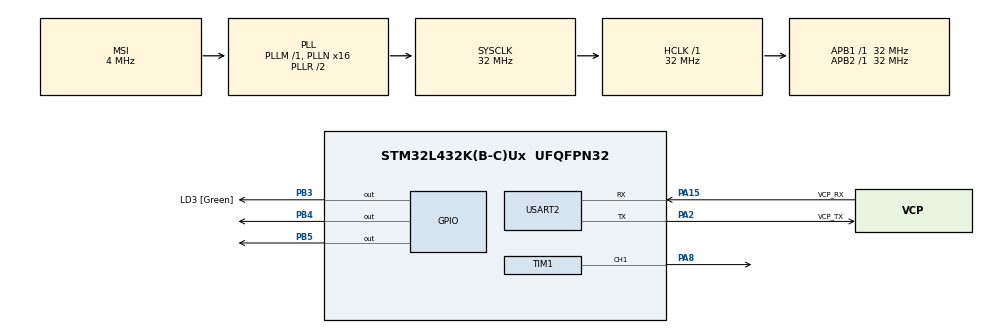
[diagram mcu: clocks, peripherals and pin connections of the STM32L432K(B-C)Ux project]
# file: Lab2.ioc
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Mcu.Family=STM32L4
Mcu.Name=STM32L432K(B-C)Ux
Mcu.Package=UFQFPN32
NVIC.PriorityGroup=NVIC_PRIORITYGROUP_4
PA13\ (JTMS-SWDIO).GPIO_Label=SWDIO
PA13\ (JTMS-SWDIO).Mode=Serial_Wire
PA13\ (JTMS-SWDIO).Signal=SYS_JTMS-SWDIO
PA14\ (JTCK-SWCLK).GPIO_Label=SWCLK
PA14\ (JTCK-SWCLK).Mode=Serial_Wire
PA14\ (JTCK-SWCLK).Signal=SYS_JTCK-SWCLK
PA15\ (JTDI).GPIO_Label=VCP_RX
PA15\ (JTDI).Mode=Asynchronous
PA15\ (JTDI).Signal=USART2_RX
PA2.GPIO_Label=VCP_TX
PA2.Mode=Asynchronous
PA2.Signal=USART2_TX
PA8.Signal=S_TIM1_CH1
PB3\ (JTDO-TRACESWO).GPIO_Label=LD3 [Green]
PB3\ (JTDO-TRACESWO).GPIO_PuPd=GPIO_NOPULL
PB3\ (JTDO-TRACESWO).Signal=GPIO_Output
PB4\ (NJTRST).GPIO_PuPd=GPIO_PULLDOWN
PB4\ (NJTRST).Signal=GPIO_Output
PB5.GPIO_PuPd=GPIO_PULLDOWN
PB5.Signal=GPIO_Output
PC14-OSC32_IN\ (PC14).Mode=LSE-External-Oscillator
PC14-OSC32_IN\ (PC14).Signal=RCC_OSC32_IN
PC15-OSC32_OUT\ (PC15).Mode=LSE-External-Oscillator
PC15-OSC32_OUT\ (PC15).Signal=RCC_OSC32_OUT
ProjectManager.HeapSize=0x200
ProjectManager.StackSize=0x400
ProjectManager.TargetToolchain=STM32CubeIDE
RCC.AHBFreq_Value=32000000
RCC.APB1Freq_Value=32000000
RCC.APB1TimFreq_Value=32000000
RCC.APB2Freq_Value=32000000
RCC.APB2TimFreq_Value=32000000
RCC.CortexFreq_Value=32000000
RCC.HCLKFreq_Value=32000000
RCC.HSE_VALUE=8000000
RCC.HSI16_VALUE=16000000
RCC.HSI48_VALUE=48000000
RCC.HSI_VALUE=16000000
RCC.MSI_VALUE=4000000
RCC.PLLMUL=RCC_PLLMUL_4
RCC.PLLN=16
RCC.SYSCLKFreq_VALUE=32000000
RCC.SYSCLKSource=RCC_SYSCLKSOURCE_PLLCLK
RCC.VCOOutputFreq_Value=64000000
SH.S_TIM1_CH1.0=TIM1_CH1,PWM Generation1 CH1
TIM1.Channel-PWM\ Generation1\ CH1=TIM_CHANNEL_1
TIM1.Period=624
TIM1.Prescaler=127
TIM1.Pulse-PWM\ Generation1\ CH1=312
USART2.VirtualMode-Asynchronous=VM_ASYNC
VP_TIM1_VS_ClockSourceINT.Mode=Internal
board=NUCLEO-L432KC

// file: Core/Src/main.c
/* USER CODE BEGIN Header */
/**
 ******************************************************************************
 * @file           : main.c
 * @brief          : Main program body
 ******************************************************************************
 * @attention
 *
 * <h2><center>&copy; Copyright (c) 2021 STMicroelectronics.
 * All rights reserved.</center></h2>
 *
 * This software component is licensed by ST under BSD 3-Clause license,
 * the "License"; You may not use this file except in compliance with the
 * License. You may obtain a copy of the License at:
 *                        opensource.org/licenses/BSD-3-Clause
 *
 ******************************************************************************
 */
/* USER CODE END Header */

/* USER CODE END Header */
/*
 * FILE          : main.c
 * PROJECT       : 4DS4 - Lab Assignment #2
 * PROGRAMMER    : Uday Sharma, Vivek Patel
 * FIRST VERSION : 2021-02-25
 * DESCRIPTION   :
 *   The functions in this file are used to output in serial and in buzzer and LED whether or
 *  the user has entered in a correct password */
/*
#include "main.h"

/* USER CODE BEGIN Includes */
#include "stdio.h"
#include "stdbool.h"
/* USER CODE END Includes */

TIM_HandleTypeDef htim1;
UART_HandleTypeDef huart2;

/* USER CODE BEGIN PV */
int passcodes[10] = {1210, 1282, 2283, 5432, 2345, 9999, 7777, 6789, 9876, 2468};
/* USER CODE END PV */

void SystemClock_Config(void);
static void MX_GPIO_Init(void);
static void MX_USART2_UART_Init(void);
static void MX_TIM1_Init(void);
/* USER CODE BEGIN PFP */
void accessGranted(void);
void accessDenied(void);
bool passcodeIsIn(int enteredValue);
/* USER CODE END PFP */

int main(void) {

	/* MCU Configuration--------------------------------------------------------*/

	/* Reset of all peripherals, Initializes the Flash interface and the Systick. */
	HAL_Init();

	/* Configure the system clock */
	SystemClock_Config();

	/* Initialize all configured peripherals */
	MX_GPIO_Init();
	MX_USART2_UART_Init();
	MX_TIM1_Init();
	/* USER CODE BEGIN 2 */
	int passcode;
	TIM1->ARR = 0;
	HAL_TIM_PWM_Start_IT(&htim1, TIM_CHANNEL_1);
	/* USER CODE END 2 */

	/* Infinite loop */
	/* USER CODE BEGIN WHILE */
	while (1) {
		printf("Please enter passcode this is a very SECURE site:");
		HAL_Delay(1000);
		scanf("%d", &passcode);
		HAL_Delay(1000);
		if (passcodeIsIn(passcode)) {
			accessGranted();
		} else {
			accessDenied();
		}
		HAL_Delay(3000);
		TIM1->ARR = 0;
		/* USER CODE END WHILE */

	}
}

void SystemClock_Config(void) {
	RCC_OscInitTypeDef RCC_OscInitStruct = { 0 };
	RCC_ClkInitTypeDef RCC_ClkInitStruct = { 0 };
	RCC_PeriphCLKInitTypeDef PeriphClkInit = { 0 };

	/** Configure LSE Drive Capability
	 */
	HAL_PWR_EnableBkUpAccess();
	__HAL_RCC_LSEDRIVE_CONFIG(RCC_LSEDRIVE_LOW);
	/** Initializes the RCC Oscillators according to the specified parameters
	 * in the RCC_OscInitTypeDef structure.
	 */
	RCC_OscInitStruct.OscillatorType = RCC_OSCILLATORTYPE_LSE
			| RCC_OSCILLATORTYPE_MSI;
	RCC_OscInitStruct.LSEState = RCC_LSE_ON;
	RCC_OscInitStruct.MSIState = RCC_MSI_ON;
	RCC_OscInitStruct.MSICalibrationValue = 0;
	RCC_OscInitStruct.MSIClockRange = RCC_MSIRANGE_6;
	RCC_OscInitStruct.PLL.PLLState = RCC_PLL_ON;
	RCC_OscInitStruct.PLL.PLLSource = RCC_PLLSOURCE_MSI;
	RCC_OscInitStruct.PLL.PLLM = 1;
	RCC_OscInitStruct.PLL.PLLN = 16;
	RCC_OscInitStruct.PLL.PLLP = RCC_PLLP_DIV7;
	RCC_OscInitStruct.PLL.PLLQ = RCC_PLLQ_DIV2;
	RCC_OscInitStruct.PLL.PLLR = RCC_PLLR_DIV2;
	if (HAL_RCC_OscConfig(&RCC_OscInitStruct) != HAL_OK) {
		Error_Handler();
	}
	/** Initializes the CPU, AHB and APB buses clocks
	 */
	RCC_ClkInitStruct.ClockType = RCC_CLOCKTYPE_HCLK | RCC_CLOCKTYPE_SYSCLK
			| RCC_CLOCKTYPE_PCLK1 | RCC_CLOCKTYPE_PCLK2;
	RCC_ClkInitStruct.SYSCLKSource = RCC_SYSCLKSOURCE_PLLCLK;
	RCC_ClkInitStruct.AHBCLKDivider = RCC_SYSCLK_DIV1;
	RCC_ClkInitStruct.APB1CLKDivider = RCC_HCLK_DIV1;
	RCC_ClkInitStruct.APB2CLKDivider = RCC_HCLK_DIV1;

	if (HAL_RCC_ClockConfig(&RCC_ClkInitStruct, FLASH_LATENCY_1) != HAL_OK) {
		Error_Handler();
	}
	PeriphClkInit.PeriphClockSelection = RCC_PERIPHCLK_USART2;
	PeriphClkInit.Usart2ClockSelection = RCC_USART2CLKSOURCE_PCLK1;
	if (HAL_RCCEx_PeriphCLKConfig(&PeriphClkInit) != HAL_OK) {
		Error_Handler();
	}
	/** Configure the main internal regulator output voltage
	 */
	if (HAL_PWREx_ControlVoltageScaling(PWR_REGULATOR_VOLTAGE_SCALE1)
			!= HAL_OK) {
		Error_Handler();
	}
	/** Enable MSI Auto calibration
	 */
	HAL_RCCEx_EnableMSIPLLMode();
}

static void MX_TIM1_Init(void) {

	TIM_ClockConfigTypeDef sClockSourceConfig = { 0 };
	TIM_MasterConfigTypeDef sMasterConfig = { 0 };
	TIM_OC_InitTypeDef sConfigOC = { 0 };
	TIM_BreakDeadTimeConfigTypeDef sBreakDeadTimeConfig = { 0 };

	htim1.Instance = TIM1;
	htim1.Init.Prescaler = 127;
	htim1.Init.CounterMode = TIM_COUNTERMODE_UP;
	htim1.Init.Period = 624;
	htim1.Init.ClockDivision = TIM_CLOCKDIVISION_DIV1;
	htim1.Init.RepetitionCounter = 0;
	htim1.Init.AutoReloadPreload = TIM_AUTORELOAD_PRELOAD_DISABLE;
	if (HAL_TIM_Base_Init(&htim1) != HAL_OK) {
		Error_Handler();
	}
	sClockSourceConfig.ClockSource = TIM_CLOCKSOURCE_INTERNAL;
	if (HAL_TIM_ConfigClockSource(&htim1, &sClockSourceConfig) != HAL_OK) {
		Error_Handler();
	}
	if (HAL_TIM_PWM_Init(&htim1) != HAL_OK) {
		Error_Handler();
	}
	sMasterConfig.MasterOutputTrigger = TIM_TRGO_RESET;
	sMasterConfig.MasterOutputTrigger2 = TIM_TRGO2_RESET;
	sMasterConfig.MasterSlaveMode = TIM_MASTERSLAVEMODE_DISABLE;
	if (HAL_TIMEx_MasterConfigSynchronization(&htim1, &sMasterConfig)
			!= HAL_OK) {
		Error_Handler();
	}
	sConfigOC.OCMode = TIM_OCMODE_PWM1;
	sConfigOC.Pulse = 312;
	sConfigOC.OCPolarity = TIM_OCPOLARITY_HIGH;
	sConfigOC.OCNPolarity = TIM_OCNPOLARITY_HIGH;
	sConfigOC.OCFastMode = TIM_OCFAST_DISABLE;
	sConfigOC.OCIdleState = TIM_OCIDLESTATE_RESET;
	sConfigOC.OCNIdleState = TIM_OCNIDLESTATE_RESET;
	if (HAL_TIM_PWM_ConfigChannel(&htim1, &sConfigOC, TIM_CHANNEL_1)
			!= HAL_OK) {
		Error_Handler();
	}
	sBreakDeadTimeConfig.OffStateRunMode = TIM_OSSR_DISABLE;
	sBreakDeadTimeConfig.OffStateIDLEMode = TIM_OSSI_DISABLE;
	sBreakDeadTimeConfig.LockLevel = TIM_LOCKLEVEL_OFF;
	sBreakDeadTimeConfig.DeadTime = 0;
	sBreakDeadTimeConfig.BreakState = TIM_BREAK_DISABLE;
	sBreakDeadTimeConfig.BreakPolarity = TIM_BREAKPOLARITY_HIGH;
	sBreakDeadTimeConfig.BreakFilter = 0;
	sBreakDeadTimeConfig.Break2State = TIM_BREAK2_DISABLE;
	sBreakDeadTimeConfig.Break2Polarity = TIM_BREAK2POLARITY_HIGH;
	sBreakDeadTimeConfig.Break2Filter = 0;
	sBreakDeadTimeConfig.AutomaticOutput = TIM_AUTOMATICOUTPUT_DISABLE;
	if (HAL_TIMEx_ConfigBreakDeadTime(&htim1, &sBreakDeadTimeConfig)
			!= HAL_OK) {
		Error_Handler();
	}
	HAL_TIM_MspPostInit(&htim1);

}

static void MX_USART2_UART_Init(void) {

	huart2.Instance = USART2;
	huart2.Init.BaudRate = 115200;
	huart2.Init.WordLength = UART_WORDLENGTH_8B;
	huart2.Init.StopBits = UART_STOPBITS_1;
	huart2.Init.Parity = UART_PARITY_NONE;
	huart2.Init.Mode = UART_MODE_TX_RX;
	huart2.Init.HwFlowCtl = UART_HWCONTROL_NONE;
	huart2.Init.OverSampling = UART_OVERSAMPLING_16;
	huart2.Init.OneBitSampling = UART_ONE_BIT_SAMPLE_DISABLE;
	huart2.AdvancedInit.AdvFeatureInit = UART_ADVFEATURE_NO_INIT;
	if (HAL_UART_Init(&huart2) != HAL_OK) {
		Error_Handler();
	}

}

static void MX_GPIO_Init(void) {
	GPIO_InitTypeDef GPIO_InitStruct = { 0 };

	/* GPIO Ports Clock Enable */
	__HAL_RCC_GPIOC_CLK_ENABLE();
	__HAL_RCC_GPIOA_CLK_ENABLE();
	__HAL_RCC_GPIOB_CLK_ENABLE();

	/*Configure GPIO pin Output Level */
	HAL_GPIO_WritePin(GPIOB, LD3_Pin | GPIO_PIN_4 | GPIO_PIN_5, GPIO_PIN_RESET);

	/*Configure GPIO pin : LD3_Pin */
	GPIO_InitStruct.Pin = LD3_Pin;
	GPIO_InitStruct.Mode = GPIO_MODE_OUTPUT_PP;
	GPIO_InitStruct.Pull = GPIO_NOPULL;
	GPIO_InitStruct.Speed = GPIO_SPEED_FREQ_LOW;
	HAL_GPIO_Init(LD3_GPIO_Port, &GPIO_InitStruct);

	/*Configure GPIO pins : PB4 PB5 */
	GPIO_InitStruct.Pin = GPIO_PIN_4 | GPIO_PIN_5;
	GPIO_InitStruct.Mode = GPIO_MODE_OUTPUT_PP;
	GPIO_InitStruct.Pull = GPIO_PULLDOWN;
	GPIO_InitStruct.Speed = GPIO_SPEED_FREQ_LOW;
	HAL_GPIO_Init(GPIOB, &GPIO_InitStruct);

}

/* USER CODE BEGIN 4 */
/* USER CODE BEGIN 4 */

//
// FUNCTION      : accessGranted(void)
// DESCRIPTION  :
//  this function is used when the user has entered the correct passcode when
//  prompted. It will turn on the green LED as well as turn on the buzzer
// PARAMETERS    :
//  void
// RETURNS       :
//   void
//
void accessGranted(void) {
	HAL_GPIO_WritePin(GPIOB, GPIO_PIN_5, GPIO_PIN_RESET);
	HAL_GPIO_WritePin(GPIOB, GPIO_PIN_4, GPIO_PIN_SET);
	TIM1->ARR = 1000;
}

/* USER CODE BEGIN 4 */

//
// FUNCTION      : accessDenied(void)
// DESCRIPTION  :
//   This fucntion will be called when the user enters an incorrect passcode.
//   The red LED will b turned on and the buzzer will be turned on to indicate
//   an unsuccesful login
// PARAMETERS    :
//  void
// RETURNS       :
//   void
//

void accessDenied(void) {
	HAL_GPIO_WritePin(GPIOB, GPIO_PIN_4, GPIO_PIN_RESET);
	HAL_GPIO_WritePin(GPIOB, GPIO_PIN_5, GPIO_PIN_SET);
	TIM1->ARR = 4000;
}

/* USER CODE BEGIN 4 */

//
// FUNCTION      : passcodeIsIn(int enteredValue)
// DESCRIPTION  :
//   This function determine whether or not the passcode entered by the user
//   is correct or not
// PARAMETERS    :
//  entered pin value
// RETURNS       :
//   True or false
//
bool passcodeIsIn(int enteredValue) {
	for (int i = 0; i < 9; i++) {
		if (enteredValue == passcodes[i]) {
			return true;
		}
	}
	return false;
}
/* USER CODE END 4 */

void Error_Handler(void) {
	__disable_irq();
	while (1) {
	}
}

/************************ (C) COPYRIGHT STMicroelectronics *****END OF FILE****/
